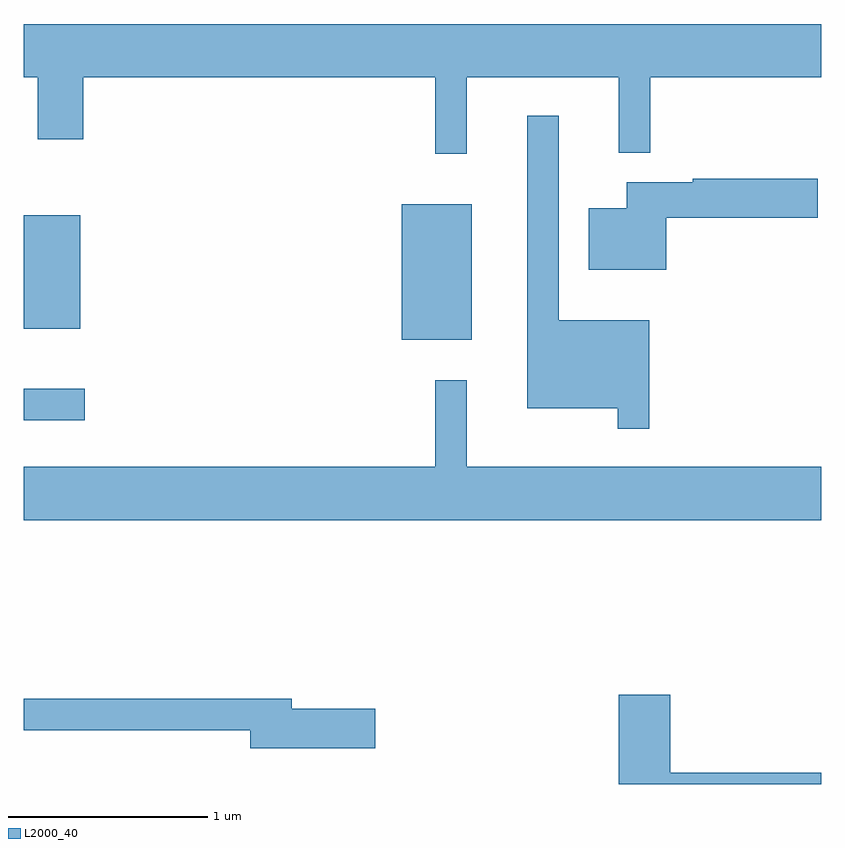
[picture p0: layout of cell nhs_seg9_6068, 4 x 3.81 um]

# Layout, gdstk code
import gdstk
lib = gdstk.Library(unit=1e-6, precision=1e-09)
def R(c, l, rs):  # rectangles x0, y0, x1, y1
    for r in rs: c.add(gdstk.rectangle(r[:2], r[2:], *l))
def P(c, l, *ps):  # polygons
    for p in ps: c.add(gdstk.Polygon(p, *l))
L2000_40 = (2000, 40)

nhs_seg9_6068 = lib.new_cell('nhs_seg9_6068')
R(nhs_seg9_6068, L2000_40, [(363.611,2052.256,363.918,2052.414), (365.506,2052.661,365.859,2053.339), (363.611,2052.716,363.894,2053.284)])
P(nhs_seg9_6068, L2000_40, [(365.834,2053.976),(366.596,2053.976),(366.596,2053.597),(366.754,2053.597),(366.754,2053.976),(367.611,2053.976),(367.611,2054.244),(363.611,2054.244),(363.611,2053.976),(363.681,2053.976),(363.681,2053.666),(363.909,2053.666),(363.909,2053.976),(365.676,2053.976),(365.676,2053.593),(365.834,2053.593)],
  [(366.749,2052.759),(366.294,2052.759),(366.294,2053.783),(366.136,2053.783),(366.136,2052.316),(366.591,2052.316),(366.591,2052.213),(366.749,2052.213)],
  [(366.834,2053.271),(367.594,2053.271),(367.594,2053.469),(366.966,2053.469),(366.966,2053.449),(366.636,2053.449),(366.636,2053.319),(366.446,2053.319),(366.446,2053.011),(366.834,2053.011)],
  [(367.611,2052.024),(365.834,2052.024),(365.834,2052.458),(365.676,2052.458),(365.676,2052.024),(363.611,2052.024),(363.611,2051.756),(367.611,2051.756)],
  [(367.611,2050.489),(366.854,2050.489),(366.854,2050.879),(366.596,2050.879),(366.596,2050.432),(367.611,2050.432)],
  [(365.374,2050.809),(364.954,2050.809),(364.954,2050.859),(363.611,2050.859),(363.611,2050.701),(364.746,2050.701),(364.746,2050.611),(365.374,2050.611)])

lib.write_gds('nhs_seg9_6068.gds')
